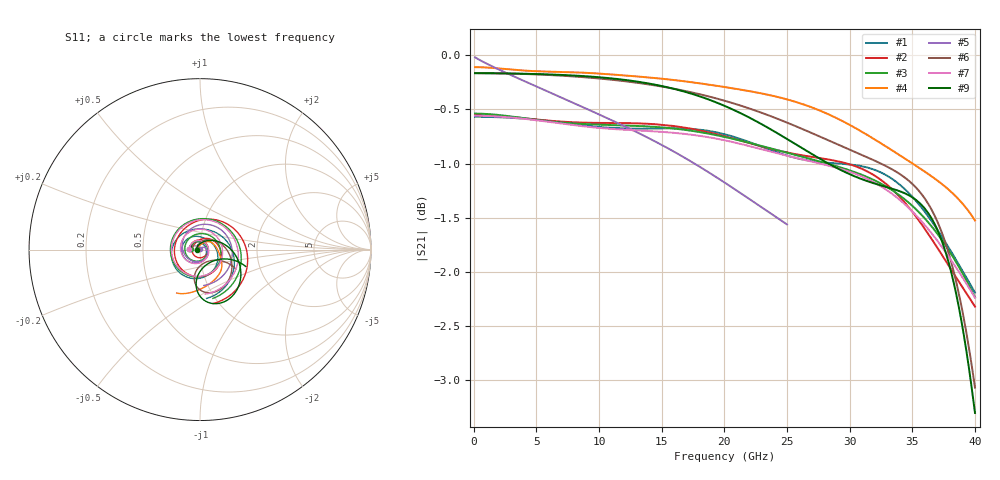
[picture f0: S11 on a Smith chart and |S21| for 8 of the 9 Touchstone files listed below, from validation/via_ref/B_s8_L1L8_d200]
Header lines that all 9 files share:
# Hz S RI R 50
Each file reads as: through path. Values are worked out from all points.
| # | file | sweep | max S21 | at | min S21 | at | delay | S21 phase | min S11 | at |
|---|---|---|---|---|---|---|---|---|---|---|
| 1 | cst.s2p | 100 MHz to 40 GHz | -0.57 dB | 200 MHz | -2.2 dB | 40 GHz | 61.5 ps | -75 deg at 20.1 GHz | -29.3 dB | 5.2 GHz |
| 2 | cst_fine.s2p | 100 MHz to 40 GHz | -0.55 dB | 200 MHz | -2.3 dB | 40 GHz | 61.2 ps | -74 deg at 20.1 GHz | -26.9 dB | 13.2 GHz |
| 3 | kisi.s2p | 100 MHz to 40 GHz | -0.54 dB | 100 MHz | -2.2 dB | 40 GHz | 61.2 ps | -73 deg at 20.1 GHz | -27.2 dB | 5.2 GHz |
| 4 | kisi_deembedded.s2p | 100 MHz to 40 GHz | -0.11 dB | 100 MHz | -1.5 dB | 40 GHz | 14.4 ps | -96 deg at 20.1 GHz | -36.8 dB | 100 MHz |
| 5 | kisi_model.s2p | 100 MHz to 25 GHz | -0.02 dB | 100 MHz | -1.6 dB | 25 GHz | 58.9 ps | 94 deg at 12.6 GHz | -54.7 dB | 100 MHz |
| 6 | ladder.s2p | 100 MHz to 40 GHz | -0.17 dB | 100 MHz | -3.1 dB | 40 GHz | 16.7 ps | -99 deg at 20.1 GHz | -34.5 dB | 100 MHz |
| 7 | openems.s2p | 100 MHz to 40 GHz | -0.56 dB | 100 MHz | -2.2 dB | 40 GHz | 61.5 ps | -76 deg at 20.1 GHz | -26.3 dB | 4.6 GHz |
| 8 | openems_base.s2p | 100 MHz to 40 GHz | -0.56 dB | 100 MHz | -2.6 dB | 40 GHz | 61.6 ps | -75 deg at 20.1 GHz | -26.6 dB | 5.1 GHz |
| 9 | pbm.s2p | 100 MHz to 40 GHz | -0.17 dB | 100 MHz | -3.3 dB | 40 GHz | 16.1 ps | -95 deg at 20.1 GHz | -34.5 dB | 100 MHz |
